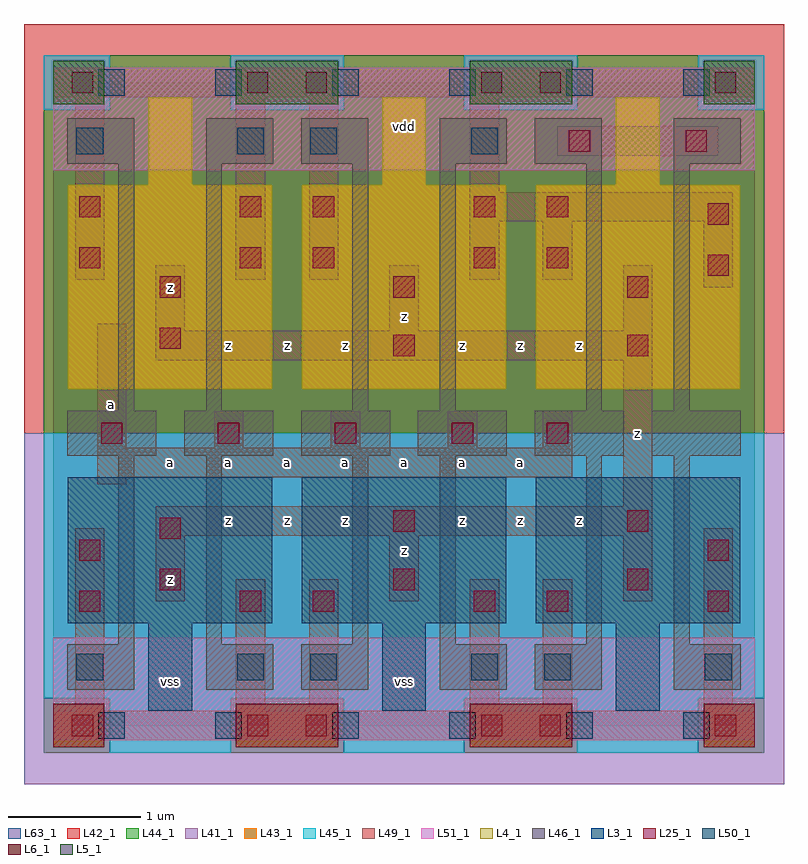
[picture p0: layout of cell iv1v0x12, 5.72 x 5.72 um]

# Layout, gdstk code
import gdstk
lib = gdstk.Library(unit=1e-6, precision=1e-09)
def R(c, l, rs):  # rectangles x0, y0, x1, y1
    for r in rs: c.add(gdstk.rectangle(r[:2], r[2:], *l))
def A(c, l, x, y, w, h, nx, ny, dx, dy):  # array of equal rectangles
    R(c, l, [(x+i*dx, y+j*dy, x+i*dx+w, y+j*dy+h) for i in range(nx) for j in range(ny)])
L3_1 = (3, 1)
L4_1 = (4, 1)
L5_1 = (5, 1)
L6_1 = (6, 1)
L25_1 = (25, 1)
L41_1 = (41, 1)
L42_1 = (42, 1)
L43_1 = (43, 1)
L44_1 = (44, 1)
L45_1 = (45, 1)
L46_1 = (46, 1)
L49_1 = (49, 1)
L50_1 = (50, 1)
L51_1 = (51, 1)
L63_1 = (63, 1)

iv1v0x12 = lib.new_cell('iv1v0x12')
A(iv1v0x12, L3_1, 0.715, 0.11, 0.33, 0.66, 3, 1, 1.76, 0)
A(iv1v0x12, L3_1, 0.11, 0.77, 1.54, 1.1, 3, 1, 1.76, 0)
A(iv1v0x12, L4_1, 0.11, 2.53, 1.54, 1.54, 3, 1, 1.76, 0)
A(iv1v0x12, L4_1, 0.715, 4.07, 0.33, 0.66, 3, 1, 1.76, 0)
R(iv1v0x12, L5_1, [(0,4.675,0.385,5.005), (1.375,4.675,2.145,5.005), (3.135,4.675,3.905,5.005), (4.895,4.675,5.28,5.005)])
R(iv1v0x12, L6_1, [(0,-0.165,0.385,0.165), (1.375,-0.165,2.145,0.165), (3.135,-0.165,3.905,0.165), (4.895,-0.165,5.28,0.165)])
A(iv1v0x12, L25_1, 0.8, 1.02, 0.16, 0.16, 3, 2, 1.76, 2.2)
A(iv1v0x12, L25_1, 0.36, 2.12, 0.16, 0.16, 4, 1, 0.88, 0)
R(iv1v0x12, L25_1, [(0.14,-0.08,0.3,0.08), (1.46,-0.08,1.62,0.08), (1.9,-0.08,2.06,0.08), (3.22,-0.08,3.38,0.08), (3.66,-0.08,3.82,0.08), (4.98,-0.08,5.14,0.08), (0.195,0.855,0.355,1.015), (1.405,0.855,1.565,1.015), (1.955,0.855,2.115,1.015), (3.165,0.855,3.325,1.015), (3.715,0.855,3.875,1.015), (4.925,0.855,5.085,1.015), (0.195,1.24,0.355,1.4), (4.925,1.24,5.085,1.4), (0.8,1.405,0.96,1.565), (2.56,1.46,2.72,1.62), (4.32,1.46,4.48,1.62), (3.715,2.12,3.875,2.28), (2.56,2.78,2.72,2.94), (4.32,2.78,4.48,2.94), (0.8,2.835,0.96,2.995), (4.925,3.385,5.085,3.545), (0.195,3.44,0.355,3.6), (1.405,3.44,1.565,3.6), (1.955,3.44,2.115,3.6), (3.165,3.44,3.325,3.6), (3.715,3.44,3.875,3.6), (4.925,3.77,5.085,3.93), (0.195,3.825,0.355,3.985), (1.405,3.825,1.565,3.985), (1.955,3.825,2.115,3.985), (3.165,3.825,3.325,3.985), (3.715,3.825,3.875,3.985), (3.88,4.32,4.04,4.48), (4.76,4.32,4.92,4.48), (0.14,4.76,0.3,4.92), (1.46,4.76,1.62,4.92), (1.9,4.76,2.06,4.92), (3.22,4.76,3.38,4.92), (3.66,4.76,3.82,4.92), (4.98,4.76,5.14,4.92)])
R(iv1v0x12, L41_1, [(-0.22,-0.44,5.5,2.2)])
R(iv1v0x12, L42_1, [(-0.22,2.2,5.5,5.28)])
A(iv1v0x12, L43_1, 0.715, 0.11, 0.33, 0.66, 3, 2, 1.76, 3.96)
A(iv1v0x12, L43_1, 0.11, 0.77, 1.54, 1.1, 3, 1, 1.76, 0)
A(iv1v0x12, L43_1, 0.11, 2.53, 1.54, 1.54, 3, 1, 1.76, 0)
R(iv1v0x12, L43_1, [(0,-0.165,0.385,0.165), (1.375,-0.165,2.145,0.165), (3.135,-0.165,3.905,0.165), (4.895,-0.165,5.28,0.165), (0,4.675,0.385,5.005), (1.375,4.675,2.145,5.005), (3.135,4.675,3.905,5.005), (4.895,4.675,5.28,5.005)])
A(iv1v0x12, L44_1, 0.425, 4.635, 0.91, 0.41, 3, 1, 1.76, 0)
R(iv1v0x12, L44_1, [(-0.07,-0.205,0.425,0.205), (1.335,-0.205,2.185,0.205), (3.095,-0.205,3.945,0.205), (4.855,-0.205,5.35,0.205), (-0.07,2.2,5.35,4.635)])
A(iv1v0x12, L45_1, 0.425, -0.205, 0.91, 0.41, 3, 1, 1.76, 0)
R(iv1v0x12, L45_1, [(-0.07,0.205,5.35,2.2), (-0.07,4.635,0.425,5.045), (1.335,4.635,2.185,5.045), (3.095,4.635,3.945,5.045), (4.855,4.635,5.35,5.045)])
A(iv1v0x12, L46_1, 0.105, 2.03, 0.67, 0.34, 6, 1, 0.88, 0)
R(iv1v0x12, L46_1, [(0.105,0.27,0.61,0.61), (1.15,0.27,1.655,0.61), (1.865,0.27,2.37,0.61), (2.91,0.27,3.415,0.61), (3.625,0.27,4.13,0.61), (4.67,0.27,5.175,0.61), (0.49,0.61,0.61,2.03), (1.15,0.61,1.27,2.03), (2.25,0.61,2.37,2.03), (2.91,0.61,3.03,2.03), (4.01,0.61,4.13,2.03), (4.67,0.61,4.79,2.03), (0.49,2.37,0.61,4.23), (1.15,2.37,1.27,4.23), (2.25,2.37,2.37,4.23), (2.91,2.37,3.03,4.23), (4.01,2.37,4.13,4.23), (4.67,2.37,4.79,4.23), (0.105,4.23,0.61,4.57), (1.15,4.23,1.655,4.57), (1.865,4.23,2.37,4.57), (2.91,4.23,3.415,4.57), (3.625,4.23,4.13,4.57), (4.67,4.23,5.175,4.57)])
A(iv1v0x12, L49_1, 0.77, 0.935, 0.22, 0.495, 3, 2, 1.76, 2.035)
A(iv1v0x12, L49_1, 1.21, 2.09, 0.22, 0.275, 3, 1, 0.88, 0)
R(iv1v0x12, L49_1, [(0,-0.11,5.28,0.11), (0.165,0.11,0.385,1.485), (1.375,0.11,1.595,1.1), (1.925,0.11,2.145,1.1), (3.135,0.11,3.355,1.1), (3.685,0.11,3.905,1.1), (4.895,0.11,5.115,1.485), (0.77,1.43,4.51,1.65), (4.29,1.65,4.51,2.75), (0.33,1.815,0.55,1.87), (0.33,1.87,3.905,2.09), (0.33,2.09,0.55,3.025), (3.685,2.09,3.905,2.365), (0.77,2.75,4.51,2.97), (4.895,3.3,5.115,3.795), (0.165,3.355,0.385,4.73), (1.375,3.355,1.595,4.73), (1.925,3.355,2.145,4.73), (3.135,3.355,3.355,3.795), (3.685,3.355,3.905,3.795), (3.135,3.795,5.115,4.015), (3.135,4.015,3.355,4.73), (3.795,4.29,5.005,4.51), (0,4.73,5.28,4.95)])
A(iv1v0x12, L50_1, 0.34, -0.1, 0.2, 0.2, 6, 2, 0.88, 4.84)
R(iv1v0x12, L50_1, [(0.175,0.34,0.375,0.54), (1.385,0.34,1.585,0.54), (1.935,0.34,2.135,0.54), (3.145,0.34,3.345,0.54), (3.695,0.34,3.895,0.54), (4.905,0.34,5.105,0.54), (0.175,4.3,0.375,4.5), (1.385,4.3,1.585,4.5), (1.935,4.3,2.135,4.5), (3.145,4.3,3.345,4.5)])
R(iv1v0x12, L51_1, [(0,-0.11,5.28,0.66), (0,4.18,5.28,4.95)])
R(iv1v0x12, L63_1, [(0,0,5.28,4.84)])
iv1v0x12.add(gdstk.Label('a', (0.44,2.42), layer=49, texttype=1))
iv1v0x12.add(gdstk.Label('z', (0.88,1.1), layer=49, texttype=1))
iv1v0x12.add(gdstk.Label('z', (1.32,1.54), layer=49, texttype=1))
iv1v0x12.add(gdstk.Label('z', (1.76,1.54), layer=49, texttype=1))
iv1v0x12.add(gdstk.Label('a', (1.32,1.98), layer=49, texttype=1))
iv1v0x12.add(gdstk.Label('a', (1.76,1.98), layer=49, texttype=1))
iv1v0x12.add(gdstk.Label('a', (0.88,1.98), layer=49, texttype=1))
iv1v0x12.add(gdstk.Label('z', (1.32,2.86), layer=49, texttype=1))
iv1v0x12.add(gdstk.Label('z', (1.76,2.86), layer=49, texttype=1))
iv1v0x12.add(gdstk.Label('z', (0.88,3.3), layer=49, texttype=1))
iv1v0x12.add(gdstk.Label('z', (2.2,1.54), layer=49, texttype=1))
iv1v0x12.add(gdstk.Label('z', (3.08,1.54), layer=49, texttype=1))
iv1v0x12.add(gdstk.Label('z', (2.64,1.32), layer=49, texttype=1))
iv1v0x12.add(gdstk.Label('a', (2.64,1.98), layer=49, texttype=1))
iv1v0x12.add(gdstk.Label('a', (3.08,1.98), layer=49, texttype=1))
iv1v0x12.add(gdstk.Label('a', (2.2,1.98), layer=49, texttype=1))
iv1v0x12.add(gdstk.Label('z', (3.08,2.86), layer=49, texttype=1))
iv1v0x12.add(gdstk.Label('z', (2.64,3.08), layer=49, texttype=1))
iv1v0x12.add(gdstk.Label('z', (2.2,2.86), layer=49, texttype=1))
iv1v0x12.add(gdstk.Label('z', (3.52,1.54), layer=49, texttype=1))
iv1v0x12.add(gdstk.Label('z', (3.96,1.54), layer=49, texttype=1))
iv1v0x12.add(gdstk.Label('a', (3.52,1.98), layer=49, texttype=1))
iv1v0x12.add(gdstk.Label('z', (3.52,2.86), layer=49, texttype=1))
iv1v0x12.add(gdstk.Label('z', (3.96,2.86), layer=49, texttype=1))
iv1v0x12.add(gdstk.Label('z', (4.4,2.2), layer=49, texttype=1))
iv1v0x12.add(gdstk.Label('vss', (0.88,0.33), layer=51, texttype=1))
iv1v0x12.add(gdstk.Label('vss', (2.64,0.33), layer=51, texttype=1))
iv1v0x12.add(gdstk.Label('vdd', (2.64,4.51), layer=51, texttype=1))

lib.write_gds('iv1v0x12.gds')
